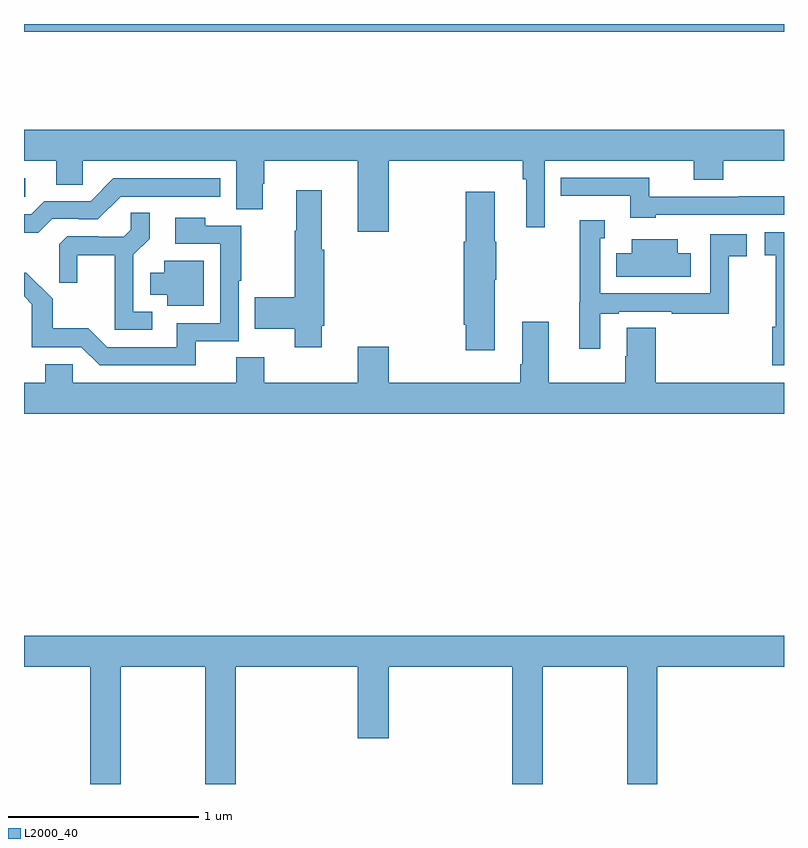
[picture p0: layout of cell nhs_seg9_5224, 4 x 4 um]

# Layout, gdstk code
import gdstk
lib = gdstk.Library(unit=1e-6, precision=1e-09)
def R(c, l, rs):  # rectangles x0, y0, x1, y1
    for r in rs: c.add(gdstk.rectangle(r[:2], r[2:], *l))
def P(c, l, *ps):  # polygons
    for p in ps: c.add(gdstk.Polygon(p, *l))
L2000_40 = (2000, 40)

nhs_seg9_5224 = lib.new_cell('nhs_seg9_5224')
R(nhs_seg9_5224, L2000_40, [(415,1169.592,415.006,1169.688), (415,1170.46,419,1170.5)])
P(nhs_seg9_5224, L2000_40, [(416.92,1169.78),(417.625,1169.78),(417.625,1169.684),(417.644,1169.684),(417.644,1169.43),(417.741,1169.43),(417.741,1169.78),(418.526,1169.78),(418.526,1169.681),(418.679,1169.681),(418.679,1169.78),(419,1169.78),(419,1169.944),(415,1169.944),(415,1169.78),(415.169,1169.78),(415.169,1169.653),(415.308,1169.653),(415.308,1169.78),(416.117,1169.78),(416.117,1169.524),(416.257,1169.524),(416.257,1169.658),(416.265,1169.658),(416.265,1169.78),(416.756,1169.78),(416.756,1169.406),(416.92,1169.406)],
  [(418.326,1169.496),(419,1169.496),(419,1169.594),(418.762,1169.594),(418.762,1169.592),(418.29,1169.592),(418.29,1169.691),(417.826,1169.691),(417.826,1169.595),(418.19,1169.595),(418.19,1169.48),(418.326,1169.48)],
  [(415.149,1169.475),(415.288,1169.475),(415.288,1169.472),(415.389,1169.472),(415.509,1169.592),(416.032,1169.592),(416.032,1169.688),(415.47,1169.688),(415.35,1169.568),(415.107,1169.568),(415.038,1169.499),(415,1169.499),(415,1169.402),(415.076,1169.402)],
  [(416.566,1168.912),(416.579,1168.912),(416.579,1169.313),(416.566,1169.313),(416.566,1169.626),(416.432,1169.626),(416.432,1169.413),(416.425,1169.413),(416.425,1169.061),(416.215,1169.061),(416.215,1168.895),(416.425,1168.895),(416.425,1168.8),(416.566,1168.8)],
  [(417.478,1169.153),(417.486,1169.153),(417.486,1169.353),(417.478,1169.353),(417.478,1169.617),(417.325,1169.617),(417.325,1169.353),(417.314,1169.353),(417.314,1168.917),(417.325,1168.917),(417.325,1168.782),(417.478,1168.782)],
  [(415.675,1168.986),(415.575,1168.986),(415.575,1169.285),(415.661,1169.371),(415.661,1169.507),(415.563,1169.507),(415.563,1169.416),(415.526,1169.379),(415.392,1169.379),(415.392,1169.382),(415.227,1169.382),(415.186,1169.341),(415.186,1169.139),(415.28,1169.139),(415.28,1169.282),(415.478,1169.282),(415.478,1168.89),(415.675,1168.89)],
  [(415.904,1168.83),(416.13,1168.83),(416.13,1169.149),(416.143,1169.149),(416.143,1169.439),(415.953,1169.439),(415.953,1169.479),(415.797,1169.479),(415.797,1169.343),(416.034,1169.343),(416.034,1168.926),(415.805,1168.926),(415.805,1168.8),(415.437,1168.8),(415.339,1168.899),(415.15,1168.899),(415.15,1169.054),(415.012,1169.192),(415,1169.192),(415,1169.066),(415.041,1169.025),(415.041,1168.8),(415.302,1168.8),(415.398,1168.704),(415.904,1168.704)],
  [(418.033,1168.974),(418.129,1168.974),(418.129,1168.986),(418.408,1168.986),(418.408,1168.974),(418.71,1168.974),(418.71,1169.278),(418.804,1169.278),(418.804,1169.394),(418.611,1169.394),(418.611,1169.082),(418.032,1169.082),(418.032,1169.373),(418.057,1169.373),(418.057,1169.467),(417.924,1169.467),(417.924,1169.035),(417.923,1169.035),(417.923,1168.791),(418.033,1168.791)],
  [(419,1169.404),(418.899,1169.404),(418.899,1169.283),(418.957,1169.283),(418.957,1168.907),(418.939,1168.907),(418.939,1168.704),(419,1168.704)],
  [(418.51,1169.293),(418.441,1169.293),(418.441,1169.368),(418.199,1169.368),(418.199,1169.293),(418.117,1169.293),(418.117,1169.171),(418.51,1169.171)],
  [(415.945,1169.254),(415.739,1169.254),(415.739,1169.191),(415.664,1169.191),(415.664,1169.075),(415.754,1169.075),(415.754,1169.018),(415.945,1169.018)],
  [(419,1168.612),(418.325,1168.612),(418.325,1168.901),(418.172,1168.901),(418.172,1168.751),(418.165,1168.751),(418.165,1168.612),(417.763,1168.612),(417.763,1168.933),(417.623,1168.933),(417.623,1168.708),(417.611,1168.708),(417.611,1168.612),(416.92,1168.612),(416.92,1168.801),(416.756,1168.801),(416.756,1168.612),(416.265,1168.612),(416.265,1168.745),(416.117,1168.745),(416.117,1168.612),(415.257,1168.612),(415.257,1168.71),(415.111,1168.71),(415.111,1168.612),(415,1168.612),(415,1168.448),(419,1168.448)],
  [(415.509,1167.116),(415.954,1167.116),(415.954,1166.5),(416.114,1166.5),(416.114,1167.116),(416.756,1167.116),(416.756,1166.742),(416.92,1166.742),(416.92,1167.116),(417.569,1167.116),(417.569,1166.5),(417.729,1166.5),(417.729,1167.116),(418.174,1167.116),(418.174,1166.5),(418.334,1166.5),(418.334,1167.116),(419,1167.116),(419,1167.28),(415,1167.28),(415,1167.116),(415.349,1167.116),(415.349,1166.5),(415.509,1166.5)])

lib.write_gds('nhs_seg9_5224.gds')
